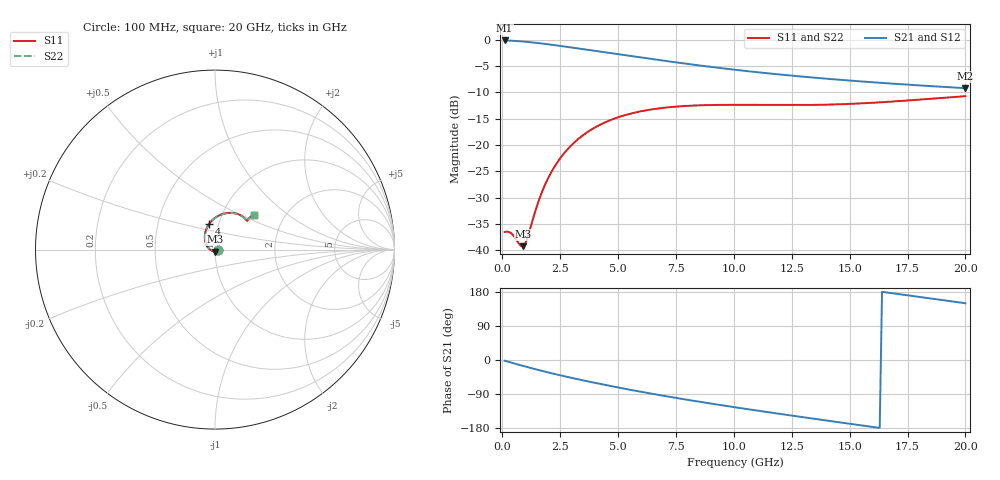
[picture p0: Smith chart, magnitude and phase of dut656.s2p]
! Touchstone file exported from HFSS 2024.1.0
!  File:  C:/UserFiles/LocalFiles/RDL_TSV_Batchsim/temp_RDL_TSV_656_1779810604.aedt
!  Generated:  12:06:35 AM May 27, 2026
!  Design:  RDL_TSV
!  Project:  temp_RDL_TSV_656_1779810604
!  Setup:  Setup1
!  Solution:  Sweep
! Variables:
!  dtsv = 8.47um
!  hbump = 3um
!  htsv = 96.51um
!  ldown = 197.16um
!  lrdl = 562.7um
!  p = 40
!  p1 = 43.67um
!  rhole = 10um
!  subl = 2842.28um
!  t = 450um
!  tdown = 4.18um
!  trdl = 2.89um
!  viad = 10um
!  wdown = 27.19um
!  wrdl = 23.38um
!  xbump = 18um
# GHz S MA R 50.000000
! Terminal data exported
! Port[1] = TM1_1_T1
! Port[2] = TM1_4_T1
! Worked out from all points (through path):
!   200 points, 100 MHz to 20 GHz, reference 50 ohm
!   highest |S21| = -0.13 dB at 100 MHz (marker M1); lowest = -9.2 dB at 20 GHz (marker M2)
!   group delay of S21, straight-line fit = 27.7 ps
!   lowest |S11| = -39.2 dB at 900 MHz (marker M3), VSWR 1.02, Z = 49.9 - j1.08 ohm
!   |S11| at or under -10 dB: start of sweep to end of sweep
!   |S22| runs from -39.2 to -10.8 dB; largest |S21 - S12| = 9.1e-15
!   S11 on the Smith chart (normalised r, x): 100 MHz: 1.03, -0.00; 4 GHz: 0.90, +0.26; 20 GHz: 1.41, +0.59
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0.1  0.0149 -4.0  0.9846 -1.8  0.9846 -1.8  0.0149 -4.0
! Gamma 0 0 0 0
! Port Impedance 50 0 50 0
0.4  0.01439 -24.6  0.9787 -7.1  0.9787 -7.1  0.0144 -24.6
0.8  0.01101 -77.3  0.966 -14.0  0.966 -14.0  0.01103 -77.1
0.9  0.01093 -96.7  0.962 -15.7  0.962 -15.7  0.01094 -96.5
1  0.0117 -116.6  0.9578 -17.3  0.9578 -17.3  0.0117 -116.4
1.1  0.01338 -134.6  0.9533 -19.0  0.9533 -19.0  0.01336 -134.3
1.4  0.02253 -170.8  0.9383 -23.8  0.9383 -23.8  0.02246 -170.6
1.7  0.0351 168.7  0.9217 -28.5  0.9217 -28.5  0.03498 168.9
2.1  0.05434 150.8  0.8982 -34.6  0.8982 -34.6  0.05415 150.8
2.4  0.06961 140.4  0.88 -38.9  0.88 -38.9  0.06937 140.5
2.7  0.08504 131.6  0.8616 -43.2  0.8616 -43.2  0.08475 131.7
3.5  0.1245 112.6  0.8135 -53.9  0.8135 -53.9  0.1241 112.6
4  0.1467 103.0  0.7843 -60.3  0.7843 -60.3  0.1462 103.0
5.2  0.1893 84.4  0.7183 -74.9  0.7183 -74.9  0.1887 84.4
6.8  0.2233 66.6  0.64 -92.7  0.64 -92.7  0.2225 66.6
8.4  0.2377 54.7  0.574 -109.1  0.574 -109.1  0.2367 54.7
10.1  0.2407 46.9  0.517 -125.2  0.517 -125.2  0.2397 46.9
11.7  0.2397 43.2  0.4741 -139.7  0.4741 -139.7  0.2386 43.2
13.4  0.2403 41.9  0.4375 -154.5  0.4375 -154.5  0.2393 41.9
15  0.2457 42.1  0.4094 -168.2  0.4094 -168.2  0.2447 42.1
16.7  0.2574 42.5  0.3847 177.4  0.3847 177.4  0.2564 42.6
20  0.2909 41.5  0.3467 149.8  0.3467 149.8  0.29 41.6
